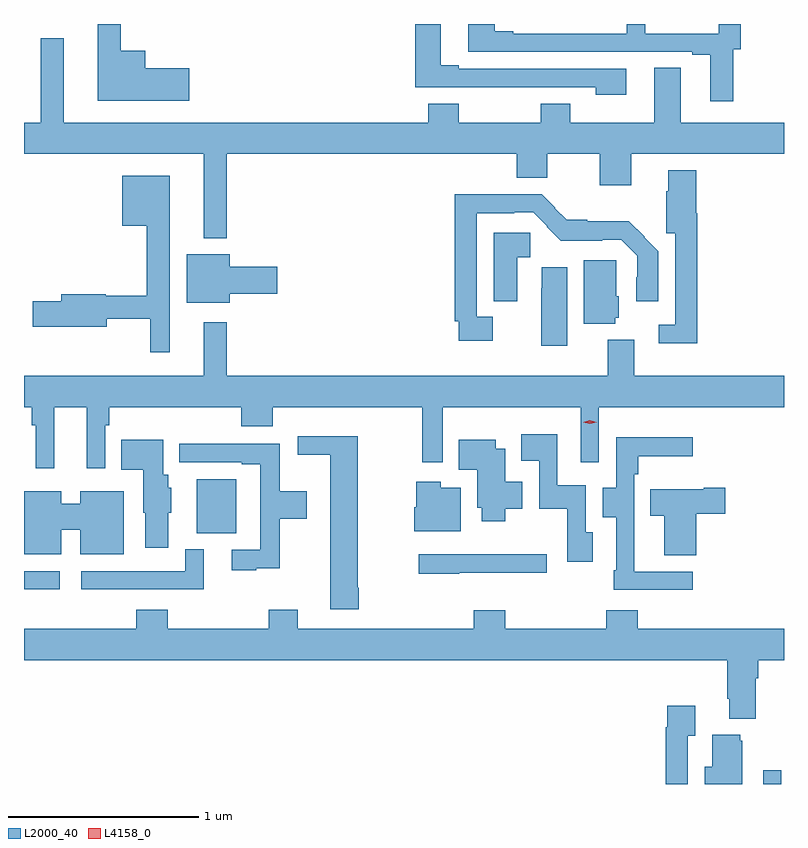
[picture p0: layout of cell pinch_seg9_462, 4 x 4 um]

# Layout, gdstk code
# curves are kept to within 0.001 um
import gdstk
lib = gdstk.Library(unit=1e-6, precision=1e-09)
def R(c, l, rs):  # rectangles x0, y0, x1, y1
    for r in rs: c.add(gdstk.rectangle(r[:2], r[2:], *l))
def P(c, l, *ps):  # polygons
    for p in ps: c.add(gdstk.Polygon(p, *l))
L2000_40 = (2000, 40)
L4158_0 = (4158, 0)

pinch_seg9_462 = lib.new_cell('pinch_seg9_462')
R(pinch_seg9_462, L2000_40, [(363.207,1198.432,363.303,1198.504), (359.317,1199.457,359.506,1199.553), (360.227,1199.753,360.433,1200.037)])
P(pinch_seg9_462, L2000_40, [(363.049,1202.298),(363.089,1202.298),(363.089,1202.432),(362.973,1202.432),(362.973,1202.382),(362.586,1202.382),(362.586,1202.432),(362.49,1202.432),(362.49,1202.382),(361.891,1202.382),(361.891,1202.395),(361.795,1202.395),(361.795,1202.432),(361.655,1202.432),(361.655,1202.286),(362.834,1202.286),(362.834,1202.271),(362.93,1202.271),(362.93,1202.025),(363.049,1202.025)],
  [(362.488,1202.196),(361.606,1202.196),(361.606,1202.216),(361.51,1202.216),(361.51,1202.432),(361.376,1202.432),(361.376,1202.1),(361.693,1202.1),(361.693,1202.099),(361.949,1202.099),(361.949,1202.1),(362.327,1202.1),(362.327,1202.06),(362.488,1202.06)],
  [(360.187,1202.198),(359.956,1202.198),(359.956,1202.29),(359.827,1202.29),(359.827,1202.432),(359.705,1202.432),(359.705,1202.027),(360.187,1202.027)],
  [(360.385,1201.748),(361.91,1201.748),(361.91,1201.622),(362.071,1201.622),(362.071,1201.748),(362.348,1201.748),(362.348,1201.584),(362.512,1201.584),(362.512,1201.748),(363.317,1201.748),(363.317,1201.912),(362.773,1201.912),(362.773,1202.201),(362.633,1202.201),(362.633,1201.912),(362.193,1201.912),(362.193,1202.011),(362.038,1202.011),(362.038,1201.912),(361.605,1201.912),(361.605,1202.011),(361.445,1202.011),(361.445,1201.912),(359.527,1201.912),(359.527,1202.356),(359.406,1202.356),(359.406,1201.912),(359.317,1201.912),(359.317,1201.748),(360.263,1201.748),(360.263,1201.304),(360.385,1201.304)],
  [(362.861,1201.435),(362.855,1201.435),(362.855,1201.663),(362.708,1201.663),(362.708,1201.553),(362.696,1201.553),(362.696,1201.332),(362.745,1201.332),(362.745,1200.849),(362.658,1200.849),(362.658,1200.752),(362.861,1200.752)],
  [(360.085,1201.633),(359.834,1201.633),(359.834,1201.37),(359.964,1201.37),(359.964,1201.003),(359.748,1201.003),(359.748,1201.01),(359.513,1201.01),(359.513,1200.974),(359.364,1200.974),(359.364,1200.839),(359.752,1200.839),(359.752,1200.882),(359.981,1200.882),(359.981,1200.705),(360.085,1200.705)],
  [(361.784,1200.892),(361.701,1200.892),(361.701,1201.436),(361.898,1201.436),(361.898,1201.44),(361.998,1201.44),(362.07,1201.368),(362.067,1201.365),(362.141,1201.292),(362.36,1201.292),(362.36,1201.296),(362.46,1201.296),(362.544,1201.212),(362.544,1201.099),(362.54,1201.099),(362.54,1200.972),(362.656,1200.972),(362.656,1201.236),(362.501,1201.393),(362.281,1201.393),(362.281,1201.401),(362.173,1201.401),(362.111,1201.463),(362.113,1201.465),(362.041,1201.537),(361.585,1201.537),(361.585,1200.868),(361.605,1200.868),(361.605,1200.764),(361.784,1200.764)],
  [(361.912,1201.205),(361.981,1201.205),(361.981,1201.334),(361.79,1201.334),(361.79,1200.973),(361.912,1200.973)],
  [(360.4,1201.012),(360.649,1201.012),(360.649,1201.154),(360.4,1201.154),(360.4,1201.219),(360.173,1201.219),(360.173,1200.965),(360.4,1200.965)],
  [(362.43,1200.885),(362.446,1200.885),(362.446,1200.999),(362.433,1200.999),(362.433,1201.188),(362.264,1201.188),(362.264,1200.854),(362.43,1200.854)],
  [(362.176,1201.153),(362.042,1201.153),(362.042,1201.04),(362.039,1201.04),(362.039,1200.738),(362.176,1200.738)],
  [(359.476,1200.416),(359.648,1200.416),(359.648,1200.093),(359.745,1200.093),(359.745,1200.32),(359.765,1200.32),(359.765,1200.416),(360.461,1200.416),(360.461,1200.314),(360.626,1200.314),(360.626,1200.416),(361.413,1200.416),(361.413,1200.126),(361.521,1200.126),(361.521,1200.416),(362.247,1200.416),(362.247,1200.126),(362.343,1200.126),(362.343,1200.416),(363.317,1200.416),(363.317,1200.58),(362.53,1200.58),(362.53,1200.769),(362.39,1200.769),(362.39,1200.58),(360.385,1200.58),(360.385,1200.862),(360.263,1200.862),(360.263,1200.58),(359.317,1200.58),(359.317,1200.416),(359.359,1200.416),(359.359,1200.32),(359.379,1200.32),(359.379,1200.093),(359.476,1200.093)],
  [(362.311,1199.757),(362.274,1199.757),(362.274,1200.004),(362.124,1200.004),(362.124,1200.274),(361.935,1200.274),(361.935,1200.134),(362.028,1200.134),(362.028,1199.882),(362.176,1199.882),(362.176,1199.601),(362.311,1199.601)],
  [(361.079,1199.464),(361.074,1199.464),(361.074,1200.262),(360.759,1200.262),(360.759,1200.164),(360.929,1200.164),(360.929,1199.352),(361.079,1199.352)],
  [(362.836,1199.55),(362.53,1199.55),(362.53,1199.747),(362.529,1199.747),(362.529,1200.062),(362.549,1200.062),(362.549,1200.158),(362.836,1200.158),(362.836,1200.256),(362.433,1200.256),(362.433,1199.991),(362.363,1199.991),(362.363,1199.836),(362.433,1199.836),(362.433,1199.557),(362.421,1199.557),(362.421,1199.454),(362.836,1199.454)],
  [(361.849,1199.882),(361.939,1199.882),(361.939,1200.022),(361.849,1200.022),(361.849,1200.196),(361.801,1200.196),(361.801,1200.244),(361.606,1200.244),(361.606,1200.086),(361.703,1200.086),(361.703,1199.886),(361.727,1199.886),(361.727,1199.816),(361.849,1199.816)],
  [(360.076,1199.859),(360.091,1199.859),(360.091,1199.991),(360.076,1199.991),(360.076,1200.06),(360.049,1200.06),(360.049,1200.244),(359.83,1200.244),(359.83,1200.086),(359.945,1200.086),(359.945,1199.859),(359.954,1199.859),(359.954,1199.676),(360.076,1199.676)],
  [(360.539,1199.567),(360.662,1199.567),(360.662,1199.827),(360.805,1199.827),(360.805,1199.974),(360.662,1199.974),(360.662,1200.222),(360.377,1200.222),(360.377,1200.224),(360.135,1200.224),(360.135,1200.126),(360.464,1200.126),(360.464,1200.114),(360.561,1200.114),(360.561,1199.664),(360.411,1199.664),(360.411,1199.556),(360.539,1199.556)],
  [(361.615,1199.992),(361.51,1199.992),(361.51,1200.022),(361.381,1200.022),(361.381,1199.889),(361.37,1199.889),(361.37,1199.762),(361.615,1199.762)],
  [(362.855,1199.854),(363.007,1199.854),(363.007,1199.991),(362.894,1199.991),(362.894,1199.983),(362.614,1199.983),(362.614,1199.843),(362.687,1199.843),(362.687,1199.635),(362.855,1199.635)],
  [(359.512,1199.771),(359.612,1199.771),(359.612,1199.642),(359.842,1199.642),(359.842,1199.974),(359.612,1199.974),(359.612,1199.906),(359.512,1199.906),(359.512,1199.974),(359.317,1199.974),(359.317,1199.642),(359.512,1199.642)],
  [(360.262,1199.668),(360.165,1199.668),(360.165,1199.553),(359.619,1199.553),(359.619,1199.457),(360.262,1199.457)],
  [(361.607,1199.543),(362.068,1199.543),(362.068,1199.641),(361.711,1199.641),(361.711,1199.64),(361.395,1199.64),(361.395,1199.539),(361.607,1199.539)],
  [(363.169,1198.988),(363.182,1198.988),(363.182,1199.084),(363.317,1199.084),(363.317,1199.248),(362.546,1199.248),(362.546,1199.347),(362.381,1199.347),(362.381,1199.248),(361.85,1199.248),(361.85,1199.347),(361.685,1199.347),(361.685,1199.248),(360.757,1199.248),(360.757,1199.35),(360.605,1199.35),(360.605,1199.248),(360.074,1199.248),(360.074,1199.35),(359.909,1199.35),(359.909,1199.248),(359.317,1199.248),(359.317,1199.084),(363.017,1199.084),(363.017,1198.882),(363.029,1198.882),(363.029,1198.775),(363.169,1198.775)],
  [(362.811,1198.687),(362.851,1198.687),(362.851,1198.843),(362.703,1198.843),(362.703,1198.73),(362.695,1198.73),(362.695,1198.432),(362.811,1198.432)],
  [(363.097,1198.659),(363.086,1198.659),(363.086,1198.69),(362.939,1198.69),(362.939,1198.522),(362.9,1198.522),(362.9,1198.432),(363.097,1198.432)])
P(pinch_seg9_462, L4158_0, [(362.295,1200.327),(362.26,1200.336),(362.26,1200.337),(362.26,1200.337),(362.295,1200.347),(362.331,1200.337),(362.331,1200.337),(362.331,1200.336)])

lib.write_gds('pinch_seg9_462.gds')
